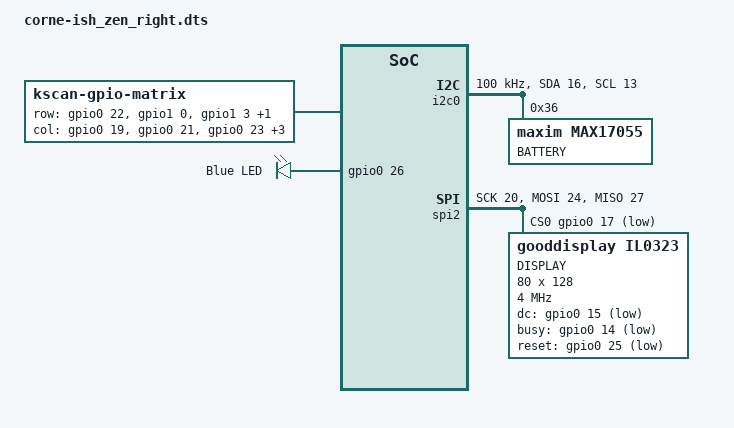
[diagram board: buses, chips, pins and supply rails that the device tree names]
/*
 * Copyright (c) 2020 Darryl deHaan
 *
 * SPDX-License-Identifier: MIT
 */

#include "corne-ish_zen.dtsi"

/{

	

	kscan0: kscan {
		compatible = "zmk,kscan-gpio-matrix";
		label = "KSCAN";

		diode-direction = "col2row";
		row-gpios
			= <&gpio0 22 (GPIO_ACTIVE_HIGH | GPIO_PULL_DOWN)>
			, <&gpio1  0 (GPIO_ACTIVE_HIGH | GPIO_PULL_DOWN)>
			, <&gpio1  3 (GPIO_ACTIVE_HIGH | GPIO_PULL_DOWN)>
			, <&gpio1  1 (GPIO_ACTIVE_HIGH | GPIO_PULL_DOWN)>
			;

		col-gpios
			= <&gpio0 19 GPIO_ACTIVE_HIGH>
			, <&gpio0 21 GPIO_ACTIVE_HIGH>
			, <&gpio0 23 GPIO_ACTIVE_HIGH>
			, <&gpio0 12 GPIO_ACTIVE_HIGH>
			, <&gpio1  9 GPIO_ACTIVE_HIGH>
			, <&gpio0  7 GPIO_ACTIVE_HIGH>
			;
		
	};

	leds {
			compatible = "gpio-leds";
			blue_led: led_0 {
				gpios = <&gpio0 26 GPIO_ACTIVE_HIGH>;
				label = "Blue LED";
			};
		};

};

&default_transform {
		col-offset = <6>;
	};

&i2c0 {
	status = "ok";
	compatible = "nordic,nrf-twim";
	sda-pin = <16>;
	scl-pin = <13>;
	clock-frequency = <100000>; 

	fuelgauge: max17055@36 {
		status = "ok";
		compatible = "maxim,max17055";
		label = "BATTERY";
		reg = <0x36>;
		design-voltage = <3700>;
		desired-voltage = <4200>;
		desired-charging-current = <150>;
		rsense-mohms = <10>;
	};
};

&spi2 {
	status = "okay";
	compatible = "nordic,nrf-spim";
	sck-pin = <20>;
	mosi-pin = <24>;
	miso-pin = <27>;
	cs-gpios = <&gpio0 17 GPIO_ACTIVE_LOW>;

	epd: il0323@0 {
		compatible = "gooddisplay,il0323";
		reg =  <0>;
		label = "DISPLAY";
		width = <80>;
		height = <128>;
		spi-max-frequency = <4000000>;
		dc-gpios = <&gpio0 15 GPIO_ACTIVE_LOW>;
		busy-gpios = <&gpio0 14 GPIO_ACTIVE_LOW>;
		reset-gpios = <&gpio0 25 GPIO_ACTIVE_LOW>;
		pwr = [03 00 26 26];
		//softstart = [17 17 17 17];
		cdi = <0xd2>;
		tcon = <0x22>;
	};
};

/*
&i2c_max17055: max17055@49 {
	compatible = "maxim,max17055";
	label = "max17055";
	reg = <0x49>;
	design-voltage = <3860>;
	desired-voltage = <4400>;
	desired-charging-current = <2000>;
	rsense-mohms = <10>;
};
*/

